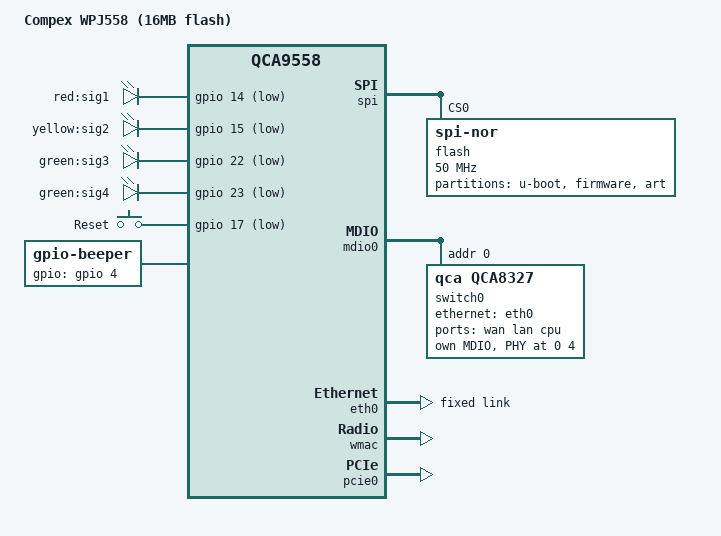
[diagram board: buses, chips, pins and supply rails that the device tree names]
// SPDX-License-Identifier: GPL-2.0-or-later

#include "qca955x.dtsi"

#include <dt-bindings/gpio/gpio.h>
#include <dt-bindings/input/input.h>

/ {
	compatible = "compex,wpj558-16m", "qca,qca9558";
	model = "Compex WPJ558 (16MB flash)";

	aliases {
		label-mac-device = &eth0;
		led-boot = &led_sig4;
		led-failsafe = &led_sig4;
		led-running = &led_sig4;
		led-upgrade = &led_sig4;
	};

	leds {
		compatible = "gpio-leds";

		sig1 {
			label = "red:sig1";
			gpios = <&gpio 14 GPIO_ACTIVE_LOW>;
		};

		sig2 {
			label = "yellow:sig2";
			gpios = <&gpio 15 GPIO_ACTIVE_LOW>;
		};

		sig3 {
			label = "green:sig3";
			gpios = <&gpio 22 GPIO_ACTIVE_LOW>;
		};

		led_sig4: sig4 {
			label = "green:sig4";
			gpios = <&gpio 23 GPIO_ACTIVE_LOW>;
		};
	};

	keys {
		compatible = "gpio-keys";

		reset {
			label = "Reset";
			linux,code = <KEY_RESTART>;
			gpios = <&gpio 17 GPIO_ACTIVE_LOW>;
			debounce-interval = <60>;
		};
	};

	beeper {
		compatible = "gpio-beeper";
		gpios = <&gpio 4 GPIO_ACTIVE_HIGH>;
	};
};

&spi {
	status = "okay";

	flash@0 {
		compatible = "jedec,spi-nor";
		reg = <0>;
		spi-max-frequency = <50000000>;
		m25p,fast-read;

		partitions {
			compatible = "fixed-partitions";
			#address-cells = <1>;
			#size-cells = <1>;

			uboot: partition@0 {
				label = "u-boot";
				reg = <0x000000 0x030000>;
				read-only;
			};

			firmware@30000 {
				compatible = "denx,uimage";
				label = "firmware";
				reg = <0x030000 0xfc0000>;
			};

			art: partition@ff0000 {
				label = "art";
				reg = <0xff0000 0x010000>;
				read-only;
			};
		};
	};
};

&mdio0 {
	status = "okay";

	switch0@10 {
		compatible = "qca,qca8327";
		#address-cells = <1>;
		#size-cells = <0>;

		reg = <0>;

		ports {
			#address-cells = <1>;
			#size-cells = <0>;

			port@1 {
				reg = <1>;
				label = "wan";
				phy-mode = "internal";
				phy-handle = <&phy_port1>;
			};

			port@5 {
				reg = <5>;
				label = "lan";
				phy-mode = "internal";
				phy-handle = <&phy_port5>;
			};

			port@6 {
				reg = <6>;
				label = "cpu";
				ethernet = <&eth0>;
				phy-mode = "rgmii-id";

				fixed-link {
					speed = <1000>;
					full-duplex;
				};
			};
		};

		mdio {
			#address-cells = <1>;
			#size-cells = <0>;

			phy_port1: phy@0 {
				reg = <0>;
			};

			phy_port5: phy@4 {
				reg = <4>;
			};
		};
	};
};

&eth0 {
	status = "okay";

	pll-data = <0x56000000 0x00000101 0x00001616>;

	nvmem-cells = <&macaddr_uboot_2e010>;
	nvmem-cell-names = "mac-address";

	fixed-link {
		speed = <1000>;
		full-duplex;
	};
};

&wmac {
	status = "okay";

	mtd-cal-data = <&art 0x1000>;
};

&pcie0 {
	status = "okay";
};

&uboot {
	compatible = "nvmem-cells";
	#address-cells = <1>;
	#size-cells = <1>;

	macaddr_uboot_2e010: macaddr@2e010 {
		reg = <0x2e010 0x6>;
	};
};
